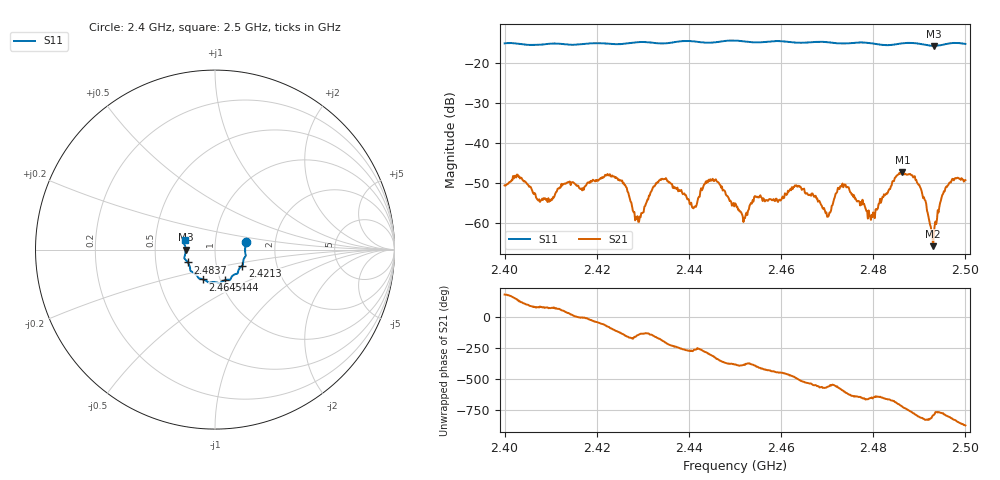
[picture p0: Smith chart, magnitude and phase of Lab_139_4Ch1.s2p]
# Hz S RI R 50
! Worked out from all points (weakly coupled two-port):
!   601 points, 2.4 GHz to 2.5 GHz, reference 50 ohm
!   highest |S21| = -47.27 dB at 2.4863 GHz (marker M1); lowest = -65.8 dB at 2.493 GHz (marker M2)
!   lowest |S11| = -15.7 dB at 2.4932 GHz (marker M3), VSWR 1.39, Z = 36 - j0.0632 ohm
!   |S11| at or under -10 dB: start of sweep to end of sweep
!   S12 and S22 are empty: the file has one direction only
!   S11 on the Smith chart (normalised r, x): 2.4 GHz: 1.41, +0.12; 2.4213 GHz: 1.33, -0.25; 2.444 GHz: 1.06, -0.37; 2.4645 GHz: 0.83, -0.29; 2.4837 GHz: 0.73, -0.11; 2.5 GHz: 0.71, +0.07
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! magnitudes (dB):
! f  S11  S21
! 2.4 GHz  -15.1  -50.6
! 2.4167 GHz  -15.3  -51.4
! 2.4213 GHz  -15.1  -48.7
! 2.4257 GHz  -15.2  -50.1
! 2.4288 GHz  -14.8  -58.3
! 2.4333 GHz  -15.1  -49.9
! 2.4412 GHz  -14.6  -55.9
! 2.444 GHz  -15.0  -49.4
! 2.45 GHz  -14.4  -55.1
! 2.4645 GHz  -15.0  -51.7
! 2.4667 GHz  -14.8  -52.6
! 2.4702 GHz  -14.8  -58.5
! 2.4738 GHz  -15.1  -50.4
! 2.4798 GHz  -15.1  -58.5
! 2.4833 GHz  -15.6  -51.9
! 2.4837 GHz  -15.5  -51.5
! 2.4863 GHz  -15.1  -47.3
! 2.4898 GHz  -15.2  -50.4
! 2.493 GHz  -15.7  -65.8
! 2.4932 GHz  -15.7  -62.5
! 2.4958 GHz  -15.3  -50.9
! 2.5 GHz  -15.3  -49.3
